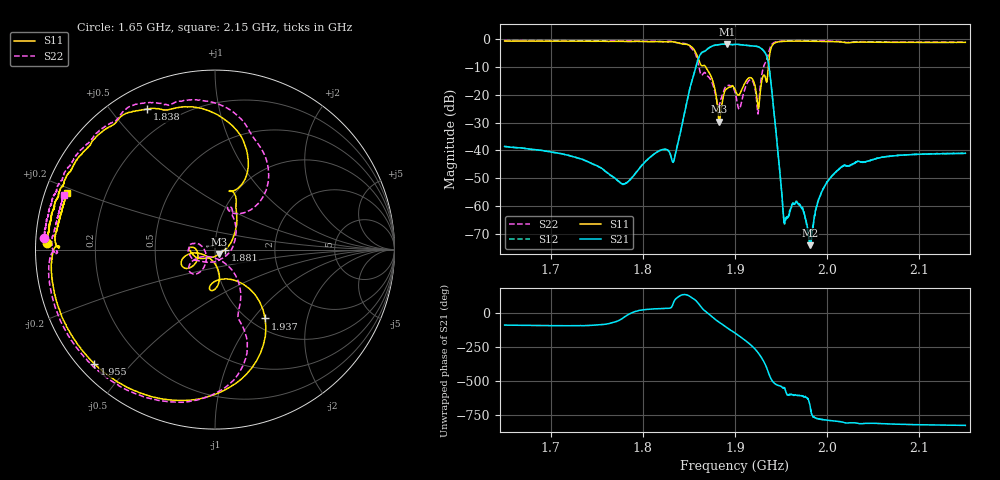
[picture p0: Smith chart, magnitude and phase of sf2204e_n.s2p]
# Hz S RI R 50
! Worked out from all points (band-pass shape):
!   1601 points, 1.65 GHz to 2.15 GHz, reference 50 ohm
!   highest |S21| = -1.70 dB at 1.891 GHz (marker M1); lowest = -74.2 dB at 1.981 GHz (marker M2)
!   |S21| within 3 dB of the highest: 1.864 GHz to 1.932 GHz (68.23 MHz wide, 3.59 % of centre)
!   lowest |S11| = -29.7 dB at 1.883 GHz (marker M3), VSWR 1.07, Z = 52.1 - j2.61 ohm
!   |S11| at or under -10 dB: 1.868 GHz to 1.936 GHz (67.74 MHz wide, 3.56 % of centre)
!   |S22| runs from -26.9 to -0.4 dB; largest |S21 - S12| = 0.0028
!   S11 on the Smith chart (normalised r, x): 1.65 GHz: 0.03, +0.02; 1.838 GHz: 0.10, +0.62; 1.881 GHz: 1.12, -0.00; 1.937 GHz: 1.16, -1.15; 1.955 GHz: 0.04, -0.40; 2.15 GHz: 0.06, +0.19
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1.65e9  -0.9341 0.0392  0.000917 -0.0118  0.000878 -0.0117  -0.9524 0.0652
1.733438e9  -0.8939 0.2545  0.000105 -0.007  9.22e-05 -0.00699  -0.9009 0.2962
1.779375e9  -0.8149 0.4255  0.00218 -0.0012  0.00218 -0.00121  -0.8077 0.4687
1.816875e9  -0.6606 0.629  0.00791 0.00558  0.00794 0.00554  -0.6142 0.6851
1.837812e9  -0.3796 0.7835  -0.00649 0.0115  -0.00651 0.0115  -0.2873 0.8099
1.8625e9  0.1204 0.3361  0.3109 0.4391  0.3117 0.4396  0.14 0.2011
1.88125e9  0.0546 -0.00182  0.4313 -0.673  0.4315 -0.6727  0.049 -0.0434
1.882812e9  0.0211 -0.025  0.3385 -0.7286  0.3397 -0.7296  0.00578 -0.0653
1.890938e9  -0.1267 -0.0216  -0.192 -0.7998  -0.192 -0.7996  -0.1408 -0.0305
1.9e9  -0.1249 0.0125  -0.6554 -0.4803  -0.6539 -0.4792  -0.108 0.0349
1.91125e9  -0.1367 -0.1001  -0.7409 0.2561  -0.7403 0.2556  -0.074 -0.1151
1.921875e9  -0.1393 -0.0232  -0.0865 0.7513  -0.0857 0.7503  -0.1133 -0.0549
1.930312e9  0.00468 -0.2158  0.6165 0.1884  0.616 0.1877  0.1437 -0.2544
1.937188e9  0.2788 -0.3833  -0.0116 -0.2973  -0.0115 -0.297  0.1705 -0.6081
1.942812e9  -0.1559 -0.8399  -0.0365 -0.0175  -0.0366 -0.0176  -0.2387 -0.8492
1.954688e9  -0.6719 -0.6368  -0.0005 0.000244  -0.000507 0.000228  -0.678 -0.6527
1.968438e9  -0.8357 -0.4075  -0.000455 0.000982  -0.00049 0.001  -0.8414 -0.4373
1.98125e9  -0.8926 -0.2564  0.000129 0.000146  0.000145 0.00016  -0.8999 -0.2881
1.983438e9  -0.8955 -0.2345  0.000274 -0.000136  0.000308 -0.000117  -0.9062 -0.2663
2.0075e9  -0.9082 -0.0486  0.00115 -0.00358  0.00115 -0.00363  -0.9237 -0.075
2.066875e9  -0.8695 0.1545  -0.000543 -0.00783  -0.000538 -0.00784  -0.8886 0.1344
2.15e9  -0.8234 0.318  -0.00228 -0.0086  -0.00228 -0.00858  -0.8423 0.3028
